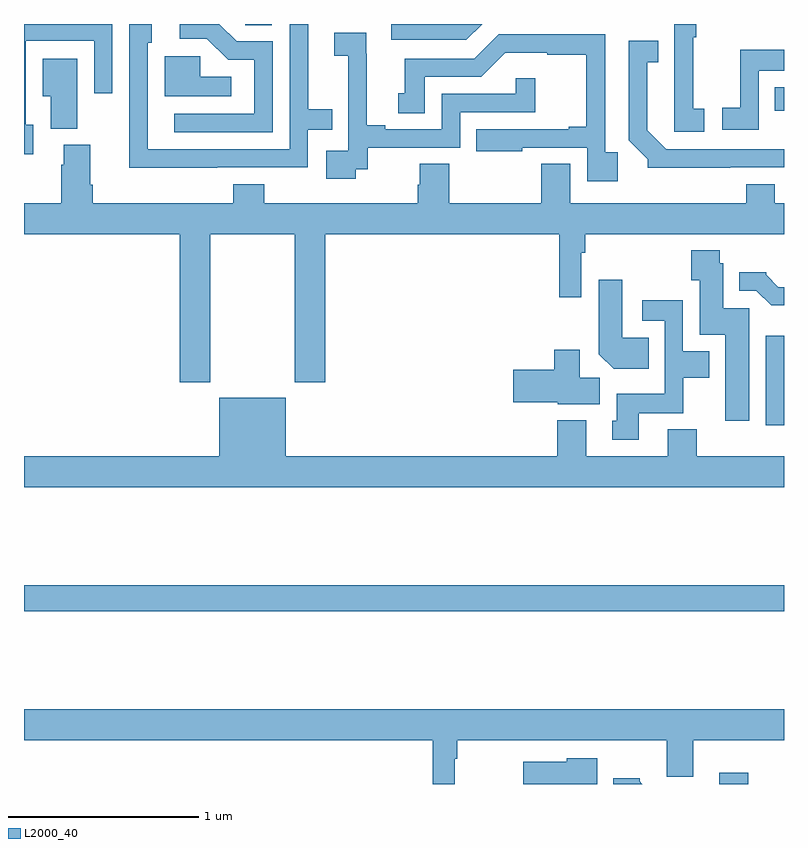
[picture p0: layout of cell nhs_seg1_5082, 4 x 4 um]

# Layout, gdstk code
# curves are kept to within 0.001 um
import gdstk
lib = gdstk.Library(unit=1e-6, precision=1e-09)
def R(c, l, rs):  # rectangles x0, y0, x1, y1
    for r in rs: c.add(gdstk.rectangle(r[:2], r[2:], *l))
def P(c, l, *ps):  # polygons
    for p in ps: c.add(gdstk.Polygon(p, *l))
L2000_40 = (2000, 40)

nhs_seg1_5082 = lib.new_cell('nhs_seg1_5082')
R(nhs_seg1_5082, L2000_40, [(390.659,522.199,390.812,522.259), (387,523.108,391,523.244), (390.905,524.088,391,524.557), (390.952,525.743,391,525.865), (388.164,526.192,388.303,526.199)])
P(nhs_seg1_5082, L2000_40, [(387.049,525.669),(387.009,525.669),(387.009,526.11),(387.369,526.11),(387.369,525.834),(387.465,525.834),(387.465,526.199),(387,526.199),(387,525.513),(387.049,525.513)],
  [(388.308,526.107),(388.119,526.107),(388.027,526.199),(387.819,526.199),(387.819,526.122),(387.963,526.122),(388.074,526.011),(388.212,526.011),(388.212,525.726),(387.792,525.726),(387.792,525.63),(388.308,525.63)],
  [(388.016,525.444),(388.494,525.444),(388.494,525.642),(388.622,525.642),(388.622,525.751),(388.495,525.751),(388.495,526.199),(388.398,526.199),(388.398,525.54),(387.651,525.54),(387.651,526.101),(387.673,526.101),(387.673,526.199),(387.555,526.199),(387.555,525.746),(387.554,525.746),(387.554,525.443),(388.016,525.443)],
  [(389.411,526.199),(388.932,526.199),(388.932,526.116),(389.328,526.116)],
  [(390.58,525.753),(390.522,525.753),(390.522,526.129),(390.539,526.129),(390.539,526.199),(390.423,526.199),(390.423,525.908),(390.422,525.908),(390.422,525.633),(390.58,525.633)],
  [(388.746,525.435),(388.808,525.435),(388.808,525.549),(389.295,525.549),(389.295,525.735),(389.69,525.735),(389.69,525.913),(389.589,525.913),(389.589,525.831),(389.199,525.831),(389.199,525.645),(388.9,525.645),(388.9,525.665),(388.804,525.665),(388.804,526.043),(388.802,526.043),(388.802,526.154),(388.632,526.154),(388.632,526.033),(388.706,526.033),(388.706,525.835),(388.707,525.835),(388.707,525.531),(388.59,525.531),(388.59,525.384),(388.746,525.384)],
  [(390.125,525.523),(390.06,525.523),(390.06,526.146),(389.499,526.146),(389.37,526.017),(389.003,526.017),(389.003,525.834),(388.97,525.834),(388.97,525.73),(389.11,525.73),(389.11,525.921),(389.406,525.921),(389.534,526.049),(389.753,526.049),(389.753,526.038),(389.959,526.038),(389.959,525.658),(389.867,525.658),(389.867,525.645),(389.38,525.645),(389.38,525.53),(389.623,525.53),(389.623,525.549),(389.964,525.549),(389.964,525.372),(390.125,525.372)],
  [(390.716,525.444),(391,525.444),(391,525.54),(390.381,525.54),(390.28,525.641),(390.28,525.998),(390.338,525.998),(390.338,526.111),(390.183,526.111),(390.183,525.586),(390.282,525.487),(390.282,525.443)],
  [(390.867,525.954),(391,525.954),(391,526.063),(390.769,526.063),(390.769,525.758),(390.675,525.758),(390.675,525.642),(390.867,525.642)],
  [(388.09,525.922),(387.927,525.922),(387.927,526.029),(387.74,526.029),(387.74,525.818),(388.09,525.818)],
  [(387.28,526.015),(387.098,526.015),(387.098,525.818),(387.14,525.818),(387.14,525.649),(387.28,525.649)],
  [(387.981,525.092),(388.426,525.092),(388.426,524.313),(388.586,524.313),(388.586,525.092),(389.818,525.092),(389.818,524.76),(389.934,524.76),(389.934,524.996),(389.954,524.996),(389.954,525.092),(391,525.092),(391,525.256),(390.952,525.256),(390.952,525.355),(390.8,525.355),(390.8,525.256),(389.875,525.256),(389.875,525.464),(389.723,525.464),(389.723,525.256),(389.237,525.256),(389.237,525.464),(389.084,525.464),(389.084,525.354),(389.072,525.354),(389.072,525.256),(388.265,525.256),(388.265,525.355),(388.1,525.355),(388.1,525.256),(387.362,525.256),(387.362,525.352),(387.349,525.352),(387.349,525.564),(387.209,525.564),(387.209,525.458),(387.197,525.458),(387.197,525.256),(387,525.256),(387,525.092),(387.821,525.092),(387.821,524.313),(387.981,524.313)],
  [(390.817,524.703),(390.679,524.703),(390.679,524.94),(390.663,524.94),(390.663,525.007),(390.511,525.007),(390.511,524.851),(390.557,524.851),(390.557,524.564),(390.692,524.564),(390.692,524.112),(390.817,524.112)],
  [(391,524.814),(390.97,524.814),(390.906,524.878),(390.906,524.893),(390.764,524.893),(390.764,524.796),(390.855,524.796),(390.934,524.718),(391,524.718)],
  [(390.287,524.548),(390.148,524.548),(390.148,524.854),(390.026,524.854),(390.026,524.462),(390.104,524.384),(390.287,524.384)],
  [(390.235,524.15),(390.471,524.15),(390.471,524.336),(390.607,524.336),(390.607,524.476),(390.468,524.476),(390.468,524.746),(390.255,524.746),(390.255,524.637),(390.372,524.637),(390.372,524.254),(390.119,524.254),(390.119,524.112),(390.095,524.112),(390.095,524.01),(390.235,524.01)],
  [(390.031,524.336),(389.926,524.336),(389.926,524.485),(389.792,524.485),(389.792,524.378),(389.574,524.378),(389.574,524.207),(389.808,524.207),(389.808,524.198),(390.031,524.198)],
  [(391,523.924),(390.542,523.924),(390.542,524.065),(390.389,524.065),(390.389,523.924),(389.959,523.924),(389.959,524.113),(389.807,524.113),(389.807,523.924),(388.378,523.924),(388.378,524.233),(388.028,524.233),(388.028,523.924),(387,523.924),(387,523.76),(391,523.76)],
  [(389.268,522.332),(389.281,522.332),(389.281,522.428),(390.383,522.428),(390.383,522.238),(390.523,522.238),(390.523,522.428),(391,522.428),(391,522.592),(387,522.592),(387,522.428),(389.152,522.428),(389.152,522.199),(389.268,522.199)],
  [(390.016,522.334),(389.856,522.334),(389.856,522.316),(389.628,522.316),(389.628,522.199),(390.016,522.199)],
  [(390.24,522.214),(390.24,522.229),(390.101,522.229),(390.101,522.199),(390.255,522.199)])

lib.write_gds('nhs_seg1_5082.gds')
